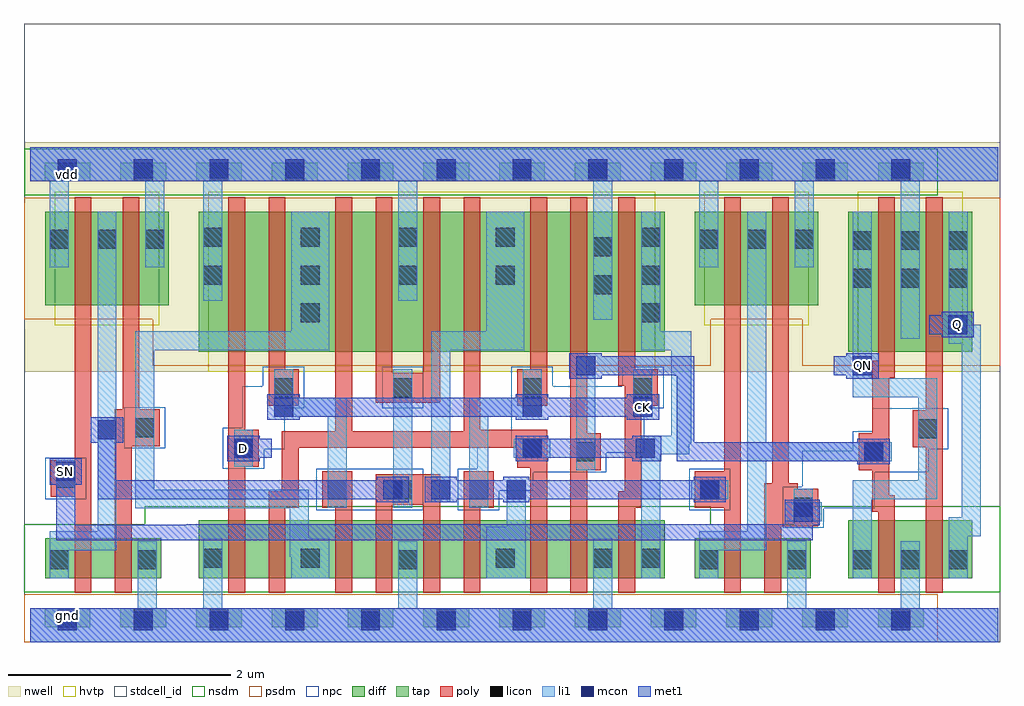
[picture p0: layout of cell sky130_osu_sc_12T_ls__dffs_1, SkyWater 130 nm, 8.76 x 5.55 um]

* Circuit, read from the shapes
.subckt sky130_osu_sc_12T_ls__dffs_1 CK D Q QN SN gnd vdd
XM1 n1 SN n2 gnd sky130_fd_pr__nfet_01v8 w=0.36 l=0.15
XM2 gnd n3 n1 gnd sky130_fd_pr__nfet_01v8 w=0.36 l=0.15
XM3 n4 D gnd gnd sky130_fd_pr__nfet_01v8 w=0.52 l=0.15
XM4 n3 n5 n4 gnd sky130_fd_pr__nfet_01v8 w=0.52 l=0.15
XM5 n6 CK n3 gnd sky130_fd_pr__nfet_01v8 w=0.52 l=0.15
XM6 gnd n2 n6 gnd sky130_fd_pr__nfet_01v8 w=0.52 l=0.15
XM7 n7 n2 gnd gnd sky130_fd_pr__nfet_01v8 w=0.52 l=0.15
XM8 n8 CK n7 gnd sky130_fd_pr__nfet_01v8 w=0.52 l=0.15
XM9 n9 n5 n8 gnd sky130_fd_pr__nfet_01v8 w=0.52 l=0.15
XM10 gnd n10 n9 gnd sky130_fd_pr__nfet_01v8 w=0.52 l=0.15
XM11 n5 CK gnd gnd sky130_fd_pr__nfet_01v8 w=0.52 l=0.15
XM12 n11 n8 n10 gnd sky130_fd_pr__nfet_01v8 w=0.36 l=0.15
XM13 gnd SN n11 gnd sky130_fd_pr__nfet_01v8 w=0.36 l=0.15
XM14 gnd n10 QN gnd sky130_fd_pr__nfet_01v8 w=0.52 l=0.15
XM15 Q QN gnd gnd sky130_fd_pr__nfet_01v8 w=0.52 l=0.15
XM16 n2 SN vdd vdd sky130_fd_pr__pfet_01v8_hvt w=0.84 l=0.15
XM17 vdd n3 n2 vdd sky130_fd_pr__pfet_01v8_hvt w=0.84 l=0.15
XM18 n12 D vdd vdd sky130_fd_pr__pfet_01v8_hvt w=1.26 l=0.15
XM19 n3 CK n12 vdd sky130_fd_pr__pfet_01v8_hvt w=1.26 l=0.15
XM20 n13 n5 n3 vdd sky130_fd_pr__pfet_01v8_hvt w=1.26 l=0.15
XM21 vdd n2 n13 vdd sky130_fd_pr__pfet_01v8_hvt w=1.26 l=0.15
XM22 n14 n2 vdd vdd sky130_fd_pr__pfet_01v8_hvt w=1.26 l=0.15
XM23 n8 n5 n14 vdd sky130_fd_pr__pfet_01v8_hvt w=1.26 l=0.15
XM24 n15 CK n8 vdd sky130_fd_pr__pfet_01v8_hvt w=1.26 l=0.15
XM25 vdd n10 n15 vdd sky130_fd_pr__pfet_01v8_hvt w=1.26 l=0.15
XM26 n5 CK vdd vdd sky130_fd_pr__pfet_01v8_hvt w=1.26 l=0.15
XM27 n10 n8 vdd vdd sky130_fd_pr__pfet_01v8_hvt w=0.84 l=0.15
XM28 vdd SN n10 vdd sky130_fd_pr__pfet_01v8_hvt w=0.84 l=0.15
XM29 vdd n10 QN vdd sky130_fd_pr__pfet_01v8_hvt w=1.26 l=0.15
XM30 Q QN vdd vdd sky130_fd_pr__pfet_01v8_hvt w=1.26 l=0.15
.ends

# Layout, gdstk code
import gdstk
lib = gdstk.Library(unit=1e-6, precision=1e-09)
def R(c, l, rs):  # rectangles x0, y0, x1, y1
    for r in rs: c.add(gdstk.rectangle(r[:2], r[2:], *l))
def A(c, l, x, y, w, h, nx, ny, dx, dy):  # array of equal rectangles
    R(c, l, [(x+i*dx, y+j*dy, x+i*dx+w, y+j*dy+h) for i in range(nx) for j in range(ny)])
nwell = (64, 20)
diff = (65, 20)
tap = (65, 44)
poly = (66, 20)
licon = (66, 44)
li1 = (67, 20)
mcon = (67, 44)
met1 = (68, 20)
hvtp = (78, 44)
stdcell_id = (81, 4)
nsdm = (93, 44)
psdm = (94, 20)
npc = (95, 20)

sky130_osu_sc_12t_ls__df = lib.new_cell('sky130_osu_sc_12T_ls__dffs_1')
R(sky130_osu_sc_12t_ls__df, nwell, [(-0.05,2.425,8.705,2.815), (-0.055,2.815,8.705,3.945), (-0.05,3.945,8.705,4.485)])
R(sky130_osu_sc_12t_ls__df, diff, [(0.135,0.575,1.175,0.935), (1.515,0.575,5.695,1.095), (5.965,0.575,7.005,0.935), (7.345,0.575,8.455,1.095), (1.515,2.605,5.695,3.865), (7.345,2.605,8.455,3.865), (0.135,3.025,1.245,3.865), (5.965,3.025,7.075,3.865)])
A(sky130_osu_sc_12t_ls__df, tap, 0.13, 0.135, 0.41, 0.17, 12, 2, 0.68, 4)
R(sky130_osu_sc_12t_ls__df, poly, [(0.4,0.445,0.55,1.305), (0.76,0.445,0.91,1.76), (1.78,0.445,1.93,1.575), (2.14,0.445,2.29,1.205), (2.74,0.445,2.89,1.205), (3.1,0.445,3.25,1.235), (3.53,0.445,3.68,1.235), (3.89,0.445,4.04,1.205), (4.49,0.445,4.64,1.565), (4.85,0.445,5,1.545), (5.28,0.445,5.43,1.205), (6.23,0.445,6.38,1.205), (6.59,0.445,6.74,1.04), (7.61,0.445,7.76,1.17), (8.04,0.445,8.19,1.75), (6.59,1.04,7.075,1.375), (7.56,1.17,7.76,1.32), (2.14,1.205,2.41,1.355), (2.62,1.205,2.89,1.535), (3.89,1.205,4.16,1.535), (5.28,1.205,5.485,1.355), (5.965,1.205,6.38,1.535), (3.1,1.235,3.68,1.505), (0.185,1.305,0.55,1.635), (7.56,1.32,7.71,1.545), (2.26,1.355,2.41,1.745), (5.335,1.355,5.485,2.12), (6.59,1.375,6.89,1.425), (6.66,1.425,6.81,3.995), (6.23,1.535,6.38,3.995), (4.85,1.545,5.12,1.875), (7.435,1.545,7.71,1.875), (4.37,1.565,4.64,1.745), (1.78,1.575,2.05,1.905), (0.4,1.635,0.55,3.995), (2.26,1.745,4.64,1.895), (7.92,1.75,8.19,2.08), (0.76,1.76,1.165,2.09), (4.85,1.875,5,3.995), (7.56,1.875,7.71,2.375), (2.74,1.895,2.89,3.995), (3.89,1.895,4.64,1.905), (1.78,1.905,1.93,3.995), (3.89,1.905,4.04,3.995), (8.04,2.08,8.19,3.995), (0.83,2.09,0.98,3.995), (2.14,2.12,2.41,2.45), (4.37,2.12,4.64,2.45), (5.335,2.12,5.635,2.3), (3.1,2.15,3.68,2.42), (5.28,2.3,5.635,2.45), (7.56,2.375,7.76,2.525), (3.1,2.42,3.25,3.995), (3.53,2.42,3.68,3.995), (2.14,2.45,2.29,3.995), (4.49,2.45,4.64,3.995), (5.28,2.45,5.43,3.995), (7.61,2.525,7.76,3.995)])
A(sky130_osu_sc_12t_ls__df, licon, 0.25, 0.135, 0.17, 0.17, 12, 2, 0.68, 4)
A(sky130_osu_sc_12t_ls__df, licon, 7.385, 0.655, 0.17, 0.17, 3, 2, 0.43, 2.525)
A(sky130_osu_sc_12t_ls__df, licon, 5.485, 2.87, 0.17, 0.17, 1, 3, 0, 0.34)
A(sky130_osu_sc_12t_ls__df, licon, 1.555, 3.21, 0.17, 0.17, 4, 2, 0.875, 0.34)
A(sky130_osu_sc_12t_ls__df, licon, 7.385, 3.52, 0.17, 0.17, 3, 1, 0.43, 0)
A(sky130_osu_sc_12t_ls__df, licon, 0.175, 3.53, 0.17, 0.17, 3, 1, 0.43, 0)
A(sky130_osu_sc_12t_ls__df, licon, 6.005, 3.53, 0.17, 0.17, 3, 1, 0.43, 0)
R(sky130_osu_sc_12t_ls__df, licon, [(0.175,0.655,0.345,0.825), (0.965,0.655,1.135,0.825), (3.305,0.655,3.475,0.825), (6.005,0.655,6.175,0.825), (6.795,0.655,6.965,0.825), (1.555,0.67,1.725,0.84), (2.43,0.67,2.6,0.84), (4.18,0.67,4.35,0.84), (5.055,0.67,5.225,0.84), (5.485,0.67,5.655,0.84), (6.855,1.125,7.025,1.295), (2.67,1.285,2.84,1.455), (3.26,1.285,3.43,1.455), (3.94,1.285,4.11,1.455), (6.015,1.285,6.185,1.455), (0.235,1.385,0.405,1.555), (4.9,1.625,5.07,1.795), (7.485,1.625,7.655,1.795), (1.83,1.655,2,1.825), (4.42,1.655,4.59,1.825), (7.97,1.83,8.14,2), (0.945,1.84,1.115,2.01), (2.19,2.2,2.36,2.37), (3.26,2.2,3.43,2.37), (4.42,2.2,4.59,2.37), (5.415,2.2,5.585,2.37), (2.43,2.87,2.6,3.04), (5.055,3.125,5.225,3.295), (5.055,3.465,5.225,3.635)])
R(sky130_osu_sc_12t_ls__df, li1, [(0,0,8.69,0.305), (0.965,0.305,1.135,0.905), (1.555,0.305,1.725,0.935), (3.305,0.305,3.475,0.905), (5.055,0.305,5.225,0.935), (6.795,0.305,6.965,0.91), (7.815,0.305,7.985,0.905), (0.175,0.575,0.345,0.825), (2.345,0.575,2.685,0.765), (4.095,0.575,4.45,1.035), (5.485,0.575,5.655,1.655), (6.005,0.575,6.175,0.825), (7.385,0.575,7.555,1.285), (8.245,0.575,8.415,0.95), (2.33,0.765,2.685,0.935), (0.175,0.825,0.775,0.995), (6.005,0.825,6.605,0.995), (2.33,0.935,2.5,1.2), (8.245,0.95,8.53,1.12), (0.605,0.995,0.775,3.865), (6.435,0.995,6.605,1.625), (4.28,1.035,4.45,1.455), (6.855,1.08,7.025,1.085), (6.775,1.085,7.105,1.255), (8.36,1.12,8.53,2.68), (0.945,1.2,2.5,1.37), (2.67,1.205,2.84,2.025), (3.26,1.205,3.43,1.285), (3.94,1.205,4.11,2.025), (3.6,1.255,3.77,2.62), (6.855,1.255,7.025,1.375), (3.17,1.285,3.43,1.455), (5.935,1.285,6.265,1.455), (7.385,1.285,8.14,1.455), (0.235,1.305,0.405,1.635), (0.945,1.37,1.115,2.62), (3.26,1.455,3.43,2.45), (7.97,1.455,8.14,2.2), (4.9,1.545,5.07,2.565), (1.83,1.575,2,1.905), (6.435,1.625,7.735,1.795), (4.34,1.655,4.67,1.825), (5.435,1.655,5.655,1.685), (5.435,1.685,5.915,1.78), (5.435,1.78,5.935,1.825), (6.435,1.795,6.605,3.865), (5.485,1.825,5.935,1.855), (5.755,1.855,5.935,2.62), (2.19,2.025,2.84,2.195), (3.94,2.025,4.59,2.195), (5.415,2.025,5.585,2.45), (2.19,2.195,2.36,2.45), (4.42,2.195,4.59,2.45), (7.385,2.2,8.14,2.37), (7.385,2.37,7.555,3.865), (0.945,2.62,2.685,2.79), (3.6,2.62,4.435,2.79), (5.485,2.62,5.935,2.79), (8.245,2.68,8.53,2.765), (7.815,2.725,7.985,4.135), (8.24,2.765,8.53,2.85), (2.345,2.79,2.685,3.865), (4.095,2.79,4.435,3.865), (5.485,2.79,5.655,3.865), (8.24,2.85,8.415,2.935), (5.055,2.895,5.225,4.135), (8.245,2.935,8.415,3.865), (1.555,3.065,1.725,4.135), (3.305,3.065,3.475,4.135), (0.175,3.365,0.345,4.135), (1.035,3.365,1.205,4.135), (6.005,3.365,6.175,4.135), (6.865,3.365,7.035,4.135), (0,4.135,8.69,4.44)])
A(sky130_osu_sc_12t_ls__df, mcon, 0.25, 0.105, 0.17, 0.17, 12, 2, 0.68, 4.06)
R(sky130_osu_sc_12t_ls__df, mcon, [(6.855,1.08,7.025,1.25), (3.17,1.285,3.34,1.455), (3.6,1.285,3.77,1.455), (4.28,1.285,4.45,1.455), (6.015,1.285,6.185,1.455), (0.235,1.45,0.405,1.62), (7.485,1.625,7.655,1.795), (1.83,1.655,2,1.825), (4.42,1.655,4.59,1.825), (5.435,1.655,5.605,1.825), (0.605,1.82,0.775,1.99), (2.19,2.025,2.36,2.195), (4.42,2.025,4.59,2.195), (5.415,2.025,5.585,2.195), (4.9,2.395,5.07,2.565), (7.385,2.395,7.555,2.565), (8.24,2.765,8.41,2.935)])
R(sky130_osu_sc_12t_ls__df, met1, [(0,0,8.69,0.305), (0.235,0.915,7.025,1.05), (0.235,1.05,7.085,1.055), (0.235,1.055,0.405,1.415), (1.405,1.055,7.085,1.06), (6.775,1.06,7.085,1.28), (3.11,1.255,3.4,1.285), (3.54,1.255,3.83,1.285), (4.245,1.255,4.48,1.285), (5.955,1.255,6.245,1.285), (0.605,1.285,3.4,1.455), (3.54,1.285,6.245,1.455), (0.175,1.415,0.465,1.65), (0.605,1.455,0.775,1.79), (3.11,1.455,3.4,1.485), (3.54,1.455,3.83,1.485), (4.245,1.455,4.48,1.485), (5.955,1.455,6.245,1.485), (7.425,1.595,7.715,1.625), (1.77,1.625,2.06,1.655), (4.36,1.625,4.65,1.655), (5.405,1.625,5.665,1.655), (5.805,1.625,7.715,1.795), (1.77,1.655,2.17,1.825), (4.36,1.655,5.665,1.825), (0.545,1.79,0.835,2.02), (5.805,1.795,5.96,2.39), (7.425,1.795,7.715,1.825), (1.77,1.825,2.06,1.855), (4.36,1.825,4.65,1.855), (5.405,1.825,5.665,1.855), (2.13,1.995,2.42,2.025), (4.36,1.995,4.65,2.025), (5.355,1.995,5.645,2.025), (2.13,2.025,5.645,2.195), (2.13,2.195,2.42,2.225), (4.36,2.195,4.65,2.225), (5.355,2.195,5.645,2.225), (4.84,2.365,5.13,2.395), (7.325,2.365,7.615,2.395), (5.785,2.39,5.96,2.395), (4.84,2.395,5.96,2.565), (7.215,2.395,7.615,2.565), (4.84,2.565,5.13,2.595), (7.325,2.565,7.615,2.595), (8.18,2.735,8.47,2.765), (8.07,2.765,8.47,2.935), (8.18,2.935,8.47,2.965), (0,4.135,8.69,4.44)])
R(sky130_osu_sc_12t_ls__df, hvtp, [(1.6,2.425,5.61,4.045), (7.43,2.425,8.37,4.045), (0.22,2.845,1.16,4.045), (6.05,2.845,6.99,4.045)])
R(sky130_osu_sc_12t_ls__df, stdcell_id, [(-0.055,0,8.705,5.55)])
R(sky130_osu_sc_12t_ls__df, nsdm, [(-0.055,0.45,8.705,1.06), (1.03,1.06,6.11,1.22), (6.86,1.06,8.705,1.22), (-0.055,4.01,8.145,4.43)])
R(sky130_osu_sc_12t_ls__df, psdm, [(-0.055,0,8.145,0.43), (1.1,2.48,6.11,2.9), (6.93,2.48,8.705,2.9), (-0.055,2.9,8.705,3.99)])
R(sky130_osu_sc_12t_ls__df, npc, [(6.755,1.025,7.125,1.2), (2.57,1.185,3.53,1.555), (3.84,1.185,4.21,1.36), (5.915,1.185,6.285,1.555), (6.755,1.2,7.58,1.395), (0.135,1.285,0.505,1.655), (3.84,1.36,4.515,1.525), (6.93,1.395,7.58,1.525), (3.84,1.525,5.17,1.555), (6.93,1.525,8.065,1.72), (1.73,1.555,2.1,1.73), (4.015,1.555,5.17,1.7), (4.015,1.7,5.51,1.75), (7.385,1.72,8.065,1.73), (1.73,1.73,2.285,1.925), (7.385,1.73,8.24,1.895), (0.845,1.74,1.215,2.11), (4.32,1.75,5.51,2.1), (7.56,1.895,8.24,2.1), (1.905,1.925,2.285,2.1), (1.905,2.1,2.46,2.295), (3.16,2.1,3.53,2.47), (4.32,2.1,5.685,2.295), (2.09,2.295,2.46,2.47), (4.32,2.295,4.69,2.47), (5.315,2.295,5.685,2.47)])
sky130_osu_sc_12t_ls__df.add(gdstk.Label('gnd', (0.335,0.24), layer=68, texttype=16))
sky130_osu_sc_12t_ls__df.add(gdstk.Label('vdd', (0.335,4.2), layer=68, texttype=16))
sky130_osu_sc_12t_ls__df.add(gdstk.Label('D', (1.915,1.74), layer=68, texttype=5))
sky130_osu_sc_12t_ls__df.add(gdstk.Label('CK', (5.5,2.11), layer=68, texttype=5))
sky130_osu_sc_12t_ls__df.add(gdstk.Label('Q', (8.325,2.85), layer=68, texttype=5))
sky130_osu_sc_12t_ls__df.add(gdstk.Label('QN', (7.475,2.48), layer=68, texttype=5))
sky130_osu_sc_12t_ls__df.add(gdstk.Label('SN', (0.32,1.535), layer=68, texttype=5))

lib.write_gds('sky130_osu_sc_12T_ls__dffs_1.gds')
